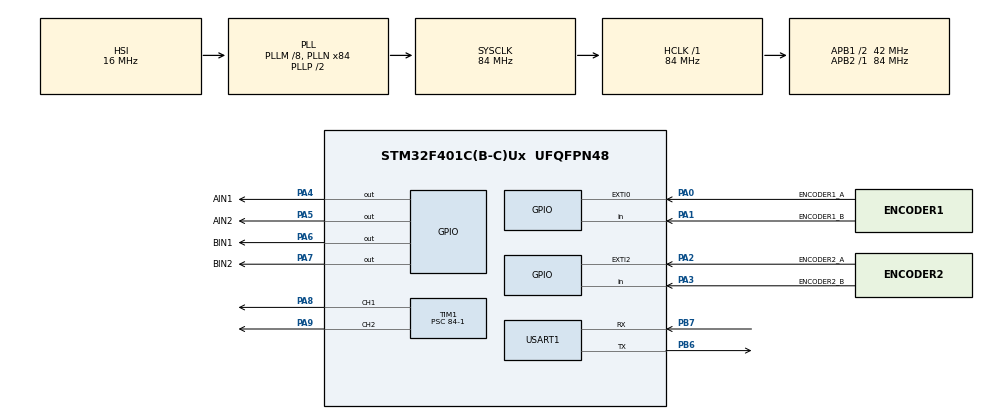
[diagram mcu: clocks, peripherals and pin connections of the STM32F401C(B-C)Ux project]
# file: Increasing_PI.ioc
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Mcu.Family=STM32F4
Mcu.Name=STM32F401C(B-C)Ux
Mcu.Package=UFQFPN48
NVIC.EXTI0_IRQn=true\:0\:0\:false\:false\:true\:true\:true\:true
NVIC.EXTI2_IRQn=true\:0\:0\:false\:false\:true\:true\:true\:true
NVIC.PriorityGroup=NVIC_PRIORITYGROUP_4
NVIC.TIM1_UP_TIM10_IRQn=true\:0\:0\:false\:false\:true\:true\:true\:true
PA0-WKUP.GPIO_Label=ENCODER1_A
PA0-WKUP.GPIO_PuPd=GPIO_PULLDOWN
PA0-WKUP.Signal=GPXTI0
PA1.GPIO_Label=ENCODER1_B
PA1.GPIO_PuPd=GPIO_PULLDOWN
PA1.Signal=GPIO_Input
PA2.GPIO_Label=ENCODER2_A
PA2.GPIO_PuPd=GPIO_PULLDOWN
PA2.Signal=GPXTI2
PA3.GPIO_Label=ENCODER2_B
PA3.GPIO_PuPd=GPIO_PULLDOWN
PA3.Signal=GPIO_Input
PA4.GPIO_Label=AIN1
PA4.Signal=GPIO_Output
PA5.GPIO_Label=AIN2
PA5.Signal=GPIO_Output
PA6.GPIO_Label=BIN1
PA6.Signal=GPIO_Output
PA7.GPIO_Label=BIN2
PA7.Signal=GPIO_Output
PA8.Signal=S_TIM1_CH1
PA9.Signal=S_TIM1_CH2
PB6.Mode=Asynchronous
PB6.Signal=USART1_TX
PB7.Mode=Asynchronous
PB7.Signal=USART1_RX
ProjectManager.HeapSize=0x200
ProjectManager.StackSize=0x400
ProjectManager.TargetToolchain=STM32CubeIDE
RCC.48MHZClocksFreq_Value=42000000
RCC.AHBFreq_Value=84000000
RCC.APB1CLKDivider=RCC_HCLK_DIV2
RCC.APB1Freq_Value=42000000
RCC.APB1TimFreq_Value=84000000
RCC.APB2Freq_Value=84000000
RCC.APB2TimFreq_Value=84000000
RCC.CortexFreq_Value=84000000
RCC.HCLKFreq_Value=84000000
RCC.HSE_VALUE=25000000
RCC.HSI_VALUE=16000000
RCC.LSE_VALUE=32768
RCC.PLLM=8
RCC.PLLN=84
RCC.SYSCLKFreq_VALUE=84000000
RCC.SYSCLKSource=RCC_SYSCLKSOURCE_PLLCLK
RCC.VCOOutputFreq_Value=168000000
SH.S_TIM1_CH1.0=TIM1_CH1,PWM Generation1 CH1
SH.S_TIM1_CH2.0=TIM1_CH2,PWM Generation2 CH2
TIM1.AutoReloadPreload=TIM_AUTORELOAD_PRELOAD_ENABLE
TIM1.Channel-PWM\ Generation1\ CH1=TIM_CHANNEL_1
TIM1.Channel-PWM\ Generation2\ CH2=TIM_CHANNEL_2
TIM1.Period=1000
TIM1.Prescaler=84-1
USART1.VirtualMode=VM_ASYNC
VP_TIM1_VS_ClockSourceINT.Mode=Internal
board=custom

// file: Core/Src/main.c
/* USER CODE BEGIN Header */
/**
  ******************************************************************************
  * @file           : main.c
  * @brief          : Main program body
  ******************************************************************************
  * @attention
  *
  * Copyright (c) 2023 STMicroelectronics.
  * All rights reserved.
  *
  * This software is licensed under terms that can be found in the LICENSE file
  * in the root directory of this software component.
  * If no LICENSE file comes with this software, it is provided AS-IS.
  *
  ******************************************************************************
  */
/* USER CODE END Header */
#include "main.h"
#include "tim.h"
#include "usart.h"
#include "gpio.h"

/* USER CODE BEGIN PD */
#define SAMPLING_TIME_MIN    (1000 * 60)

#define PULSE_PER_CIRCLE  13000

#define R_MOTOR_NOR SET
#define R_MOTOR_REV !R_MOTOR_NOR

#define L_MOTOR_NOR RESET
#define L_MOTOR_REV !L_MOTOR_NOR

#define DEBUG
#define TAG "main"

#ifdef DEBUG
#define printf_t(format, ...) printf( format "\r\n", ##__VA_ARGS__)
#define info(format, ...) printf("[\t"TAG"]info:" format "\r\n", ##__VA_ARGS__)
#define debug(format, ...) printf("[\t"TAG"]debug:" format "\r\n", ##__VA_ARGS__)
#define error(format, ...) printf("[\t"TAG"]error:" format "\r\n",##__VA_ARGS__)
#else
#define printf(format, ...)
#define info(format, ...)
#define debug(format, ...)
#define error(format, ...)
#endif
/* USER CODE END PD */

/* USER CODE BEGIN PV */
int64_t RMotorCount, LMotorCount;
double RVelocity,LVelocity;                         //Cycle per minute
double RVelBias, LVelBias;
double RTargetVel, LTargetVel;
double velKp=800.0, velKi=1600.0;
double RPWM=0, LPWM=0;
/* USER CODE END PV */

void SystemClock_Config(void);

/* USER CODE BEGIN 0 */
/**
    * @breif    Start to computing the speeds of motors.
    * @note     None
    * @param    None
    * @retval   None
    */
void MotorSpeedCompute_Start(){
    HAL_TIM_Base_Start_IT(&htim1);
}

/**
    * @breif    Start to count the encoder.
    * @note     None
    * @param    None
    * @retval   None
    */
void Encoder_Start(){

}

/**
    * @breif    Start to generate PWM signals to control motors.
    * @note     None
    * @param    None
    * @retval   None
    */
void MotorPWM_Start(){
    HAL_TIM_PWM_Start(&htim1, TIM_CHANNEL_1);
    HAL_TIM_PWM_Start(&htim1, TIM_CHANNEL_2);
}

/**
    * @breif    Use incremental PI algorithm to renew the PWM signals.
    * @note     None
    * @param    None
    * @retval   None
    */
void IncrementalPI(void) {
    static double RVelBias, LVelBias, LastRVelBias, LastLVelBias;
    RVelBias = RVelocity - RTargetVel;                //compute current bias
    LVelBias = LVelocity - LTargetVel;                //compute current bias
    RPWM -= velKp * (RVelBias - LastRVelBias) / 100 + velKi * RVelBias / 1000;        //incremental PI controller
    LPWM -= velKp * (LVelBias - LastLVelBias) / 100 + velKi * LVelBias / 1000;        //incremental PI controller
    if (RPWM < 0) { RPWM = 0.0; }
    if (LPWM < 0) { LPWM = 0.0; }
    if (RPWM - 1000.0 > 0) { RPWM = 1000.0; }
    if (LPWM - 1000.0 > 0) { LPWM = 1000.0; }
    LastRVelBias = RVelBias;                    //save last velocity bias
    LastLVelBias = LVelBias;                    //save last velocity bias
    __HAL_TIM_SET_COMPARE(&htim1, TIM_CHANNEL_1, RPWM);
    __HAL_TIM_SET_COMPARE(&htim1, TIM_CHANNEL_2, LPWM);                                 //Renew PWN
}
/* USER CODE END 0 */

int main(void)
{
    /* USER CODE BEGIN 1 */
    int cont = 0;
    /* USER CODE END 1 */

    /* MCU Configuration--------------------------------------------------------*/

    /* Reset of all peripherals, Initializes the Flash interface and the Systick. */
    HAL_Init();

    /* Configure the system clock */
    SystemClock_Config();

    /* Initialize all configured peripherals */
    MX_GPIO_Init();
    MX_TIM1_Init();
    MX_USART1_UART_Init();
    /* USER CODE BEGIN 2 */
    Encoder_Start();
    MotorPWM_Start();
    MotorSpeedCompute_Start();
    RTargetVel = 80;

        HAL_GPIO_WritePin(AIN1_GPIO_Port, AIN1_Pin, SET);
        HAL_GPIO_WritePin(AIN2_GPIO_Port, AIN2_Pin, RESET);
    /* USER CODE END 2 */

    /* Infinite loop */
    while (1)
    {
        cont++;
        cont%=1000;
        if(cont == 0)   RTargetVel = 50;
        if(cont == 500)  RTargetVel = 230;
        IncrementalPI();
        printf("%lf, %lf, %lf, %d\r\n", RVelocity, RTargetVel, RPWM, cont);
    }
}
void SystemClock_Config(void)
{
    RCC_OscInitTypeDef RCC_OscInitStruct = {0};
    RCC_ClkInitTypeDef RCC_ClkInitStruct = {0};

    /** Configure the main internal regulator output voltage
    */
    __HAL_RCC_PWR_CLK_ENABLE();
    __HAL_PWR_VOLTAGESCALING_CONFIG(PWR_REGULATOR_VOLTAGE_SCALE2);

    /** Initializes the RCC Oscillators according to the specified parameters
    * in the RCC_OscInitTypeDef structure.
    */
    RCC_OscInitStruct.OscillatorType = RCC_OSCILLATORTYPE_HSI;
    RCC_OscInitStruct.HSIState = RCC_HSI_ON;
    RCC_OscInitStruct.HSICalibrationValue = RCC_HSICALIBRATION_DEFAULT;
    RCC_OscInitStruct.PLL.PLLState = RCC_PLL_ON;
    RCC_OscInitStruct.PLL.PLLSource = RCC_PLLSOURCE_HSI;
    RCC_OscInitStruct.PLL.PLLM = 8;
    RCC_OscInitStruct.PLL.PLLN = 84;
    RCC_OscInitStruct.PLL.PLLP = RCC_PLLP_DIV2;
    RCC_OscInitStruct.PLL.PLLQ = 4;
    if (HAL_RCC_OscConfig(&RCC_OscInitStruct) != HAL_OK)
    {
        Error_Handler();
    }

    /** Initializes the CPU, AHB and APB buses clocks
    */
    RCC_ClkInitStruct.ClockType = RCC_CLOCKTYPE_HCLK|RCC_CLOCKTYPE_SYSCLK
                                  |RCC_CLOCKTYPE_PCLK1|RCC_CLOCKTYPE_PCLK2;
    RCC_ClkInitStruct.SYSCLKSource = RCC_SYSCLKSOURCE_PLLCLK;
    RCC_ClkInitStruct.AHBCLKDivider = RCC_SYSCLK_DIV1;
    RCC_ClkInitStruct.APB1CLKDivider = RCC_HCLK_DIV2;
    RCC_ClkInitStruct.APB2CLKDivider = RCC_HCLK_DIV1;

    if (HAL_RCC_ClockConfig(&RCC_ClkInitStruct, FLASH_LATENCY_2) != HAL_OK)
    {
        Error_Handler();
    }
}

/* USER CODE BEGIN 4 */
void HAL_TIM_PeriodElapsedCallback(TIM_HandleTypeDef *htim) {
    if (htim->Instance == htim1.Instance) {                                         //Computing Motor's velocity
        static int64_t lastRMotorCount, lastLMotorCount;
        int16_t differenceOfRMotorCount = RMotorCount - lastRMotorCount, differenceOfLMotorCount = LMotorCount - lastLMotorCount;
        RVelocity = (double) differenceOfRMotorCount * SAMPLING_TIME_MIN / PULSE_PER_CIRCLE;
        LVelocity = (double) differenceOfLMotorCount * SAMPLING_TIME_MIN / PULSE_PER_CIRCLE;
        lastRMotorCount = RMotorCount;
        lastLMotorCount = LMotorCount;                                              //Save Motor count
    }
}

void HAL_GPIO_EXTI_Callback(uint16_t GPIO_Pin) {
    if (GPIO_Pin == ENCODER1_A_Pin){                                                //Encoder count
        if(HAL_GPIO_ReadPin(ENCODER1_B_GPIO_Port, ENCODER1_B_Pin) == R_MOTOR_NOR)   RMotorCount++;
        else    RMotorCount--;
    }
    else if(GPIO_Pin == ENCODER2_A_Pin){
        if(HAL_GPIO_ReadPin(ENCODER2_B_GPIO_Port, ENCODER2_B_Pin) * HAL_GPIO_ReadPin(ENCODER2_A_GPIO_Port, ENCODER2_A_Pin)== L_MOTOR_NOR)   LMotorCount++;
        else    LMotorCount--;
    }
}

/* USER CODE END 4 */

void Error_Handler(void)
{
    __disable_irq();
    while (1)
    {
    }
}
